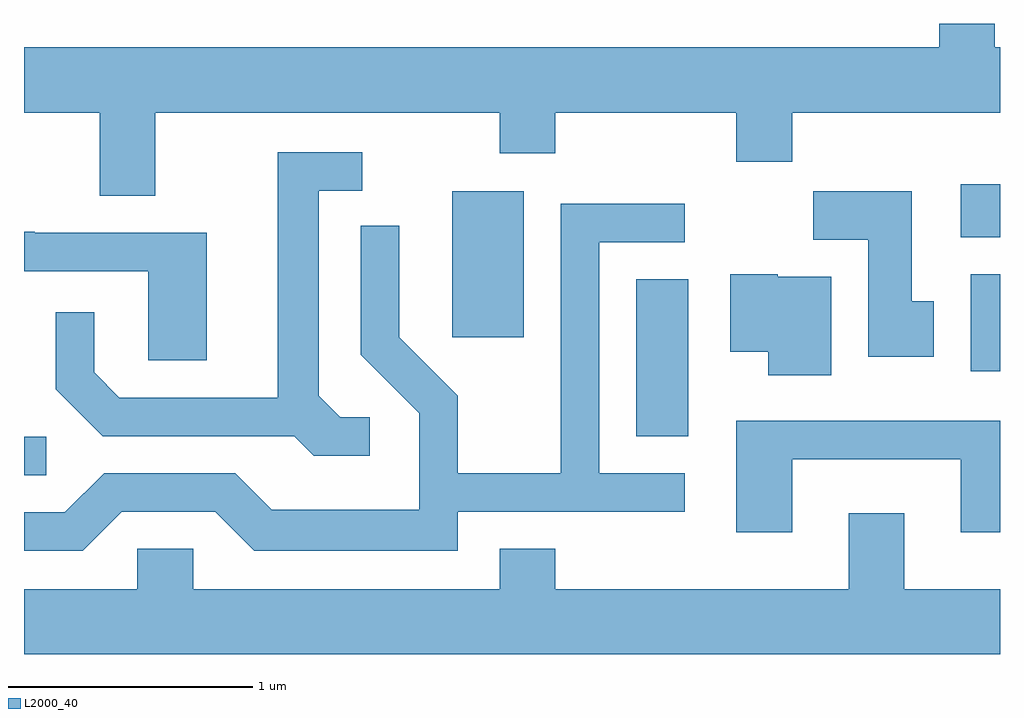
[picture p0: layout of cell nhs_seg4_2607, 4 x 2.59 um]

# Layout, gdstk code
import gdstk
lib = gdstk.Library(unit=1e-6, precision=1e-09)
def R(c, l, rs):  # rectangles x0, y0, x1, y1
    for r in rs: c.add(gdstk.rectangle(r[:2], r[2:], *l))
def P(c, l, *ps):  # polygons
    for p in ps: c.add(gdstk.Polygon(p, *l))
L2000_40 = (2000, 40)

nhs_seg4_2607 = lib.new_cell('nhs_seg4_2607')
R(nhs_seg4_2607, L2000_40, [(261.611,1302.131,261.703,1302.289), (264.121,1302.291,264.334,1302.934), (265.491,1302.556,265.611,1302.954), (263.366,1302.696,263.659,1303.294), (265.451,1303.106,265.611,1303.324)])
P(nhs_seg4_2607, L2000_40, [(262.149,1303.616),(263.561,1303.616),(263.561,1303.451),(263.789,1303.451),(263.789,1303.616),(264.531,1303.616),(264.531,1303.416),(264.759,1303.416),(264.759,1303.616),(265.611,1303.616),(265.611,1303.884),(265.589,1303.884),(265.589,1303.982),(265.361,1303.982),(265.361,1303.884),(261.611,1303.884),(261.611,1303.616),(261.921,1303.616),(261.921,1303.276),(262.149,1303.276)],
  [(263.028,1302.369),(262.907,1302.369),(262.819,1302.457),(262.819,1303.296),(262.998,1303.296),(262.998,1303.454),(262.651,1303.454),(262.651,1302.449),(262.002,1302.449),(261.899,1302.552),(261.899,1302.798),(261.741,1302.798),(261.741,1302.484),(261.933,1302.291),(262.719,1302.291),(262.799,1302.211),(263.028,1302.211)],
  [(265.339,1302.844),(265.249,1302.844),(265.249,1303.294),(264.846,1303.294),(264.846,1303.096),(265.071,1303.096),(265.071,1302.616),(265.339,1302.616)],
  [(262.012,1301.981),(262.394,1301.981),(262.554,1301.821),(263.389,1301.821),(263.389,1301.981),(264.318,1301.981),(264.318,1302.139),(263.969,1302.139),(263.969,1303.086),(264.318,1303.086),(264.318,1303.244),(263.811,1303.244),(263.811,1302.139),(263.389,1302.139),(263.389,1302.457),(263.149,1302.697),(263.149,1303.153),(262.991,1303.153),(262.991,1302.624),(263.231,1302.384),(263.231,1301.989),(262.627,1301.989),(262.477,1302.139),(261.939,1302.139),(261.779,1301.979),(261.611,1301.979),(261.611,1301.821),(261.852,1301.821)],
  [(262.359,1303.124),(261.655,1303.124),(261.655,1303.129),(261.611,1303.129),(261.611,1302.966),(262.121,1302.966),(262.121,1302.601),(262.359,1302.601)],
  [(264.919,1302.944),(264.7,1302.944),(264.7,1302.954),(264.506,1302.954),(264.506,1302.636),(264.661,1302.636),(264.661,1302.541),(264.919,1302.541)],
  [(264.759,1302.196),(265.451,1302.196),(265.451,1301.896),(265.611,1301.896),(265.611,1302.354),(264.531,1302.354),(264.531,1301.896),(264.759,1301.896)],
  [(265.611,1301.664),(265.219,1301.664),(265.219,1301.974),(264.991,1301.974),(264.991,1301.664),(263.789,1301.664),(263.789,1301.829),(263.561,1301.829),(263.561,1301.664),(262.304,1301.664),(262.304,1301.829),(262.076,1301.829),(262.076,1301.664),(261.611,1301.664),(261.611,1301.396),(265.611,1301.396)])

lib.write_gds('nhs_seg4_2607.gds')
